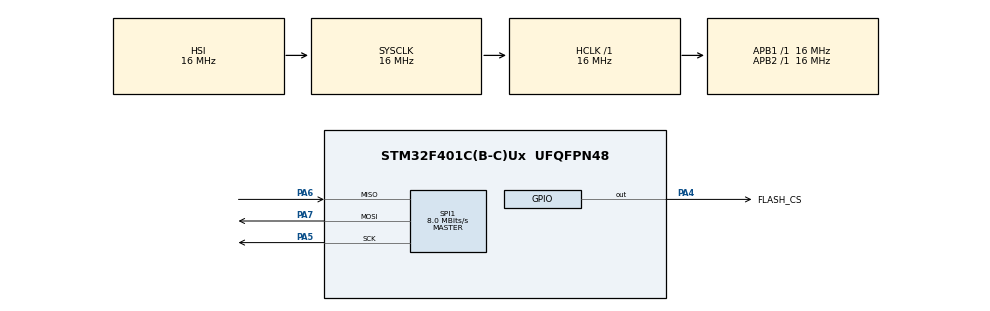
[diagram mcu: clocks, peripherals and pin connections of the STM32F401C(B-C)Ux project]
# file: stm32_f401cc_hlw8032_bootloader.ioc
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Mcu.Family=STM32F4
Mcu.Name=STM32F401C(B-C)Ux
Mcu.Package=UFQFPN48
NVIC.FLASH_IRQn=true\:0\:0\:false\:false\:true\:true\:true\:true
NVIC.PriorityGroup=NVIC_PRIORITYGROUP_4
NVIC.RCC_IRQn=true\:0\:0\:false\:false\:true\:true\:false\:true
PA4.GPIO_Label=FLASH_CS
PA4.GPIO_Speed=GPIO_SPEED_FREQ_HIGH
PA4.PinState=GPIO_PIN_SET
PA4.Signal=GPIO_Output
PA5.Mode=Full_Duplex_Master
PA5.Signal=SPI1_SCK
PA6.Mode=Full_Duplex_Master
PA6.Signal=SPI1_MISO
PA7.Mode=Full_Duplex_Master
PA7.Signal=SPI1_MOSI
PH0\ -\ OSC_IN.Mode=HSE-External-Oscillator
PH0\ -\ OSC_IN.Signal=RCC_OSC_IN
PH1\ -\ OSC_OUT.Mode=HSE-External-Oscillator
PH1\ -\ OSC_OUT.Signal=RCC_OSC_OUT
ProjectManager.HeapSize=0x200
ProjectManager.StackSize=0x400
ProjectManager.TargetToolchain=STM32CubeIDE
RCC.AHBFreq_Value=16000000
RCC.APB1Freq_Value=16000000
RCC.APB2Freq_Value=16000000
RCC.CortexFreq_Value=16000000
RCC.HSE_VALUE=25000000
RCC.HSI_VALUE=16000000
RCC.LSE_VALUE=32768
RCC.SYSCLKFreq_VALUE=16000000
RCC.VCOOutputFreq_Value=192000000
SPI1.CalculateBaudRate=8.0 MBits/s
SPI1.Direction=SPI_DIRECTION_2LINES
SPI1.Mode=SPI_MODE_MASTER
SPI1.VirtualType=VM_MASTER
board=custom

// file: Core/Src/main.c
/* USER CODE BEGIN Header */
/**
  ******************************************************************************
  * @file           : main.c
  * @brief          : Main program body
  ******************************************************************************
  * @attention
  *
  * Copyright (c) 2024 STMicroelectronics.
  * All rights reserved.
  *
  * This software is licensed under terms that can be found in the LICENSE file
  * in the root directory of this software component.
  * If no LICENSE file comes with this software, it is provided AS-IS.
  *
  ******************************************************************************
  */
/* USER CODE END Header */
#include "main.h"

/* USER CODE BEGIN Includes */
#include "SPI_flash.h"
#include "lfs.h"
#include "lfs_config.h"
#include "definitions.h"
/* USER CODE END Includes */

/* USER CODE BEGIN PD */
#define VoltageRange_1        ((uint8_t)0x00)  /*!< Device operating range: 1.8V to 2.1V */
#define VoltageRange_2        ((uint8_t)0x01)  /*!<Device operating range: 2.1V to 2.7V */
#define VoltageRange_3        ((uint8_t)0x02)  /*!<Device operating range: 2.7V to 3.6V */
#define VoltageRange_4        ((uint8_t)0x03)  /*!<Device operating range: 2.7V to 3.6V + External Vpp */
#define SECTOR_MASK           ((uint32_t)0xFFFFFF07)
#define FLASH_Sector_3			((uint16_t)0x0018) /*!< Sector Number 3   */
#define FLASH_Sector_4     		((uint16_t)0x0020) /*!< Sector Number 4   */
#define FLASH_Sector_5     		((uint16_t)0x0028) /*!< Sector Number 5   */
/* USER CODE END PD */

SPI_HandleTypeDef hspi1;

/* USER CODE BEGIN PV */
lfs_t 							lfs;
lfs_file_t 						file;
struct lfs_config				cfg;
static struct lfs_file_config	fileConf;
/* USER CODE END PV */

void SystemClock_Config(void);
static void MX_GPIO_Init(void);
static void MX_SPI1_Init(void);

/* USER CODE BEGIN 0 */
uint8_t SPI_flash_read_byte(void){
	uint8_t byte;

	HAL_SPI_Receive(&hspi1, &byte, 1, 5000);
	return byte;
}

void SPI_flash_send_byte(uint8_t byte){

	HAL_SPI_Transmit(&hspi1, &byte, 1, 5000);

}

void SPI_flash_select(void){
	HAL_GPIO_WritePin(GPIOA,GPIO_PIN_4,GPIO_PIN_RESET);
}

void SPI_flash_deselect(void){
	HAL_GPIO_WritePin(GPIOA,GPIO_PIN_4,GPIO_PIN_SET);
}

void jumpToApp(const uint32_t address)
{

	 typedef void(*pFunction)(void);//объявляем пользовательский тип
	 /* Устанавливаем адрес перехода на основную программу */
	 /* Переход производится выполнением функции, адрес которой указывается вручную */
	 /* +4 байта потому, что в самом начале расположен указатель на вектор прерывания */
	 uint32_t jumpAddress = *(__IO uint32_t*) (MAIN_PROGRAM_START_ADDRESS + 4);
	 pFunction Jump_To_Application = (pFunction) jumpAddress;

	 /*Сбрасываем всю периферию на APB1 */
	 RCC->APB1RSTR = 0xFFFFFFFF; RCC->APB1RSTR = 0x0;
	/*Сбрасываем всю периферию на APB2 */
	 RCC->APB2RSTR = 0xFFFFFFFF; RCC->APB2RSTR = 0x0;
	 RCC->APB1ENR = 0x0; /* Выключаем всю периферию на APB1 */
	 RCC->APB2ENR = 0x0; /* Выключаем всю периферию на APB2 */
	 //RCC->AHBENR = 0x0; /* Выключаем всю периферию на AHB */
	 /* Сбрасываем все источники тактования по умолчанию, переходим на HSI*/
	 //RCC_DeInit();
	 HAL_DeInit();

	 /* Выключаем прерывания */
	 __disable_irq();
	 /* Переносим адрес вектора прерываний */
	 //NVIC_SetVectorTable(NVIC_VectTab_FLASH, MAIN_PROGRAM_START_ADDRESS);
	 //NVIC_SetVector((uint32_t)0x08000000, MAIN_PROGRAM_START_ADDRESS);
	 SCB->VTOR = (uint32_t)0x08000000 | (MAIN_PROGRAM_START_ADDRESS & (uint32_t)0x1FFFFF80);
	 //0x08000000 VECT_TAB_OFFSET
	 /* Переносим адрес стэка */
	  __set_MSP(*(__IO uint32_t*) MAIN_PROGRAM_START_ADDRESS);
	  /* Переходим в основную программу */
	  Jump_To_Application();
	/*
	const JumpStruct* vector_p = (JumpStruct*)address;

	deinitEverything();

	// let's do The Jump!
    // Jump, used asm to avoid stack optimization
    asm("msr msp, %0; bx %1;" : : "r"(vector_p->stack_addr), "r"(vector_p->func_p));
   */
}

void delay(uint32_t ms){

	ms = ms * 8000;
	while(ms){
		ms--;
	}
}

int FLASH_EraseSector(uint32_t FLASH_Sector, uint8_t VoltageRange)
{
  uint32_t tmp_psize = 0x0;
  int status = 9; //FLASH_COMPLETE;

  /* Check the parameters */
  assert_param(IS_FLASH_SECTOR(FLASH_Sector));
  assert_param(IS_VOLTAGERANGE(VoltageRange));

  if(VoltageRange == VoltageRange_1)
  {
     tmp_psize = FLASH_PSIZE_BYTE;
  }
  else if(VoltageRange == VoltageRange_2)
  {
    tmp_psize = FLASH_PSIZE_HALF_WORD;
  }
  else if(VoltageRange == VoltageRange_3)
  {
    tmp_psize = FLASH_PSIZE_WORD;
  }
  else
  {
    tmp_psize = FLASH_PSIZE_DOUBLE_WORD;
  }
  /* Wait for last operation to be completed */
  status = FLASH_WaitForLastOperation(HAL_MAX_DELAY);

  if(status == HAL_OK)
  {
    /* if the previous operation is completed, proceed to erase the sector */
    FLASH->CR &= CR_PSIZE_MASK;
    FLASH->CR |= tmp_psize;
    FLASH->CR &= SECTOR_MASK;
    FLASH->CR |= FLASH_CR_SER | FLASH_Sector;
    FLASH->CR |= FLASH_CR_STRT;

    /* Wait for last operation to be completed */
    status = FLASH_WaitForLastOperation(HAL_MAX_DELAY);

    /* if the erase operation is completed, disable the SER Bit */
    FLASH->CR &= (~FLASH_CR_SER);
    FLASH->CR &= SECTOR_MASK;
  }
  /* Return the Erase Status */
  return status;
}
/* USER CODE END 0 */

int main(void)
{

  /* USER CODE BEGIN 1 */
	uint8_t 						lfsReadBuff[256];
	uint8_t 						lfsWriteBuff[256];
	uint8_t 						lfslookaheadBuff[256];
	uint8_t							lfs_file_buf[512];
	struct SPI_flash_info			flash_parameters;
	int 							err;
	uint32_t 						addr = 0;
	uint8_t 						res,data = 0;

  /* USER CODE END 1 */

  /* MCU Configuration--------------------------------------------------------*/

  /* Reset of all peripherals, Initializes the Flash interface and the Systick. */
  HAL_Init();

  /* Configure the system clock */
  SystemClock_Config();

  /* Initialize all configured peripherals */
  MX_GPIO_Init();
  MX_SPI1_Init();
  /* USER CODE BEGIN 2 */
  SPI_flash_reg_cb(SPI_flash_select, SPI_flash_deselect, SPI_flash_read_byte, SPI_flash_send_byte);
  flash_parameters = sFLASH_GetInfo();
  if (flash_parameters.flash_id == 0x0) jumpToApp(APP_START); // jump to APP

  io_fs_init(lfsReadBuff, lfsWriteBuff, lfslookaheadBuff, 256, &cfg);
	memset(&fileConf, 0, sizeof(struct lfs_file_config));
	fileConf.buffer = lfs_file_buf;  						// use the static buffer
	fileConf.attr_count = 0;

	err = lfs_mount(&lfs, &cfg);

	if(err < 0){
	    jumpToApp(APP_START);
	}

	err = lfs_file_opencfg(&lfs, &file, FIRMWARE_FILE, LFS_O_RDONLY, &fileConf);

	if (err >= 0){
		HAL_FLASH_Unlock();
		FLASH_EraseSector(FLASH_Sector_5,VoltageRange_3);
		FLASH_EraseSector(FLASH_Sector_4,VoltageRange_3);
		FLASH_EraseSector(FLASH_Sector_3,VoltageRange_3);

		lfs_file_rewind(&lfs,&file);

		for ( addr = APP_START ; addr < APP_END ; addr = addr + sizeof(data) ){
			res = lfs_file_read(&lfs, &file, &data, sizeof(data));
			if (res <= 0 ) break; //из файла считалось 0 байт или ошибка, выходим
			HAL_FLASH_Program(FLASH_TYPEPROGRAM_BYTE, addr,data);
		}

	    lfs_file_close(&lfs, &file);

	    lfs_remove(&lfs, FIRMWARE_FILE);

	    HAL_FLASH_Lock();
	    jumpToApp(APP_START);

	}else{
		jumpToApp(APP_START);
	}
  /* USER CODE END 2 */

  /* Infinite loop */
  while (1)
  {

  }
}

void SystemClock_Config(void)
{
  RCC_OscInitTypeDef RCC_OscInitStruct = {0};
  RCC_ClkInitTypeDef RCC_ClkInitStruct = {0};

  /** Configure the main internal regulator output voltage
  */
  __HAL_RCC_PWR_CLK_ENABLE();
  __HAL_PWR_VOLTAGESCALING_CONFIG(PWR_REGULATOR_VOLTAGE_SCALE2);

  /** Initializes the RCC Oscillators according to the specified parameters
  * in the RCC_OscInitTypeDef structure.
  */
  RCC_OscInitStruct.OscillatorType = RCC_OSCILLATORTYPE_HSI;
  RCC_OscInitStruct.HSIState = RCC_HSI_ON;
  RCC_OscInitStruct.HSICalibrationValue = RCC_HSICALIBRATION_DEFAULT;
  RCC_OscInitStruct.PLL.PLLState = RCC_PLL_NONE;
  if (HAL_RCC_OscConfig(&RCC_OscInitStruct) != HAL_OK)
  {
    Error_Handler();
  }

  /** Initializes the CPU, AHB and APB buses clocks
  */
  RCC_ClkInitStruct.ClockType = RCC_CLOCKTYPE_HCLK|RCC_CLOCKTYPE_SYSCLK
                              |RCC_CLOCKTYPE_PCLK1|RCC_CLOCKTYPE_PCLK2;
  RCC_ClkInitStruct.SYSCLKSource = RCC_SYSCLKSOURCE_HSI;
  RCC_ClkInitStruct.AHBCLKDivider = RCC_SYSCLK_DIV1;
  RCC_ClkInitStruct.APB1CLKDivider = RCC_HCLK_DIV1;
  RCC_ClkInitStruct.APB2CLKDivider = RCC_HCLK_DIV1;

  if (HAL_RCC_ClockConfig(&RCC_ClkInitStruct, FLASH_LATENCY_0) != HAL_OK)
  {
    Error_Handler();
  }
}

static void MX_SPI1_Init(void)
{

  /* SPI1 parameter configuration*/
  hspi1.Instance = SPI1;
  hspi1.Init.Mode = SPI_MODE_MASTER;
  hspi1.Init.Direction = SPI_DIRECTION_2LINES;
  hspi1.Init.DataSize = SPI_DATASIZE_8BIT;
  hspi1.Init.CLKPolarity = SPI_POLARITY_LOW;
  hspi1.Init.CLKPhase = SPI_PHASE_1EDGE;
  hspi1.Init.NSS = SPI_NSS_SOFT;
  hspi1.Init.BaudRatePrescaler = SPI_BAUDRATEPRESCALER_2;
  hspi1.Init.FirstBit = SPI_FIRSTBIT_MSB;
  hspi1.Init.TIMode = SPI_TIMODE_DISABLE;
  hspi1.Init.CRCCalculation = SPI_CRCCALCULATION_DISABLE;
  hspi1.Init.CRCPolynomial = 10;
  if (HAL_SPI_Init(&hspi1) != HAL_OK)
  {
    Error_Handler();
  }

}

static void MX_GPIO_Init(void)
{
  GPIO_InitTypeDef GPIO_InitStruct = {0};

  /* GPIO Ports Clock Enable */
  __HAL_RCC_GPIOH_CLK_ENABLE();
  __HAL_RCC_GPIOA_CLK_ENABLE();

  /*Configure GPIO pin Output Level */
  HAL_GPIO_WritePin(FLASH_CS_GPIO_Port, FLASH_CS_Pin, GPIO_PIN_SET);

  /*Configure GPIO pin : FLASH_CS_Pin */
  GPIO_InitStruct.Pin = FLASH_CS_Pin;
  GPIO_InitStruct.Mode = GPIO_MODE_OUTPUT_PP;
  GPIO_InitStruct.Pull = GPIO_NOPULL;
  GPIO_InitStruct.Speed = GPIO_SPEED_FREQ_HIGH;
  HAL_GPIO_Init(FLASH_CS_GPIO_Port, &GPIO_InitStruct);

}

void Error_Handler(void)
{
  __disable_irq();
  while (1)
  {
  }
}
